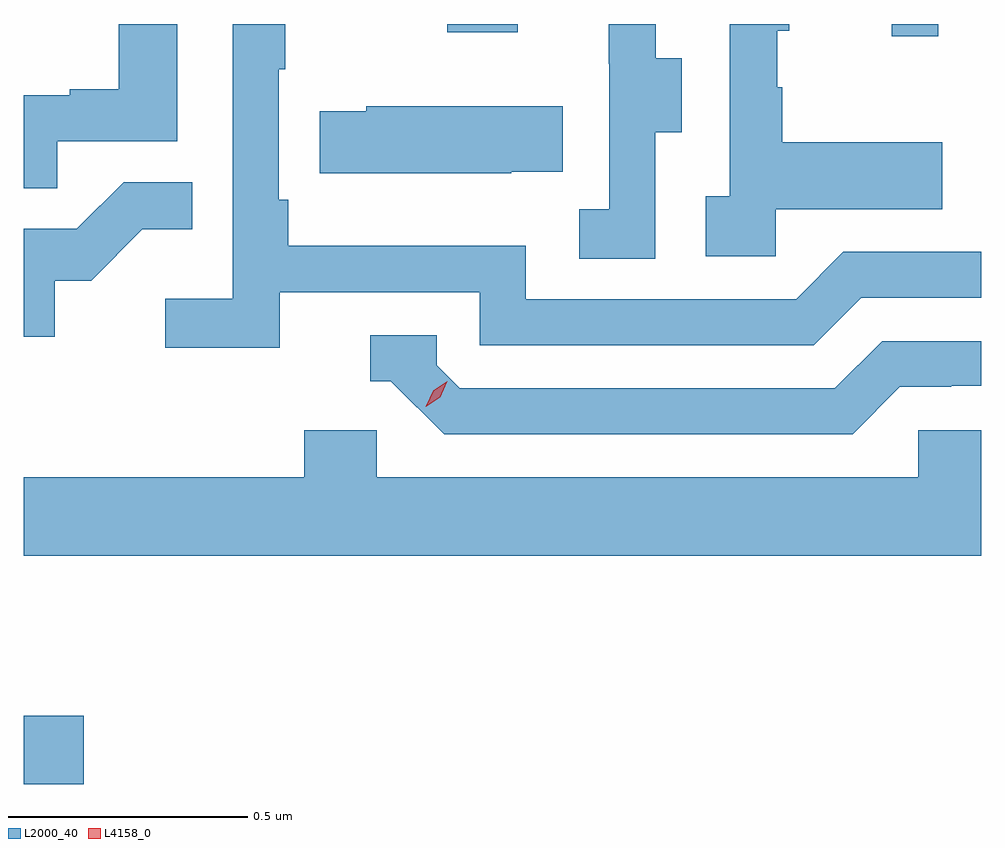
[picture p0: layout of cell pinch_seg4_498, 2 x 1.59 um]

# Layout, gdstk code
import gdstk
lib = gdstk.Library(unit=1e-6, precision=1e-09)
def R(c, l, rs):  # rectangles x0, y0, x1, y1
    for r in rs: c.add(gdstk.rectangle(r[:2], r[2:], *l))
def P(c, l, *ps):  # polygons
    for p in ps: c.add(gdstk.Polygon(p, *l))
L2000_40 = (2000, 40)
L4158_0 = (4158, 0)

pinch_seg4_498 = lib.new_cell('pinch_seg4_498')
R(pinch_seg4_498, L2000_40, [(901.759,767.039,901.885,767.181), (903.572,768.6,903.669,768.626), (902.644,768.609,902.791,768.626)])
P(pinch_seg4_498, L2000_40, [(902.294,768.066),(902.712,768.066),(902.712,767.955),(903.409,767.955),(903.508,768.054),(903.759,768.054),(903.759,768.15),(903.471,768.15),(903.372,768.051),(902.808,768.051),(902.808,768.163),(902.312,768.163),(902.312,768.259),(902.292,768.259),(902.292,768.532),(902.305,768.532),(902.305,768.626),(902.196,768.626),(902.196,768.052),(902.055,768.052),(902.055,767.95),(902.294,767.95)],
  [(901.829,768.381),(902.08,768.381),(902.08,768.626),(901.958,768.626),(901.958,768.49),(901.855,768.49),(901.855,768.477),(901.759,768.477),(901.759,768.283),(901.829,768.283)],
  [(903.33,768.239),(903.677,768.239),(903.677,768.379),(903.343,768.379),(903.343,768.494),(903.333,768.494),(903.333,768.612),(903.358,768.612),(903.358,768.626),(903.234,768.626),(903.234,768.266),(903.183,768.266),(903.183,768.141),(903.33,768.141)],
  [(903.078,768.4),(903.133,768.4),(903.133,768.555),(903.079,768.555),(903.079,768.626),(902.981,768.626),(902.981,768.543),(902.982,768.543),(902.982,768.239),(902.919,768.239),(902.919,768.136),(903.078,768.136)],
  [(902.777,768.317),(902.885,768.317),(902.885,768.454),(902.475,768.454),(902.475,768.444),(902.377,768.444),(902.377,768.314),(902.777,768.314)],
  [(901.824,768.09),(901.9,768.09),(902.007,768.197),(902.111,768.197),(902.111,768.296),(901.968,768.296),(901.87,768.198),(901.759,768.198),(901.759,767.973),(901.824,767.973)],
  [(903.589,767.868),(903.696,767.868),(903.696,767.871),(903.759,767.871),(903.759,767.964),(903.552,767.964),(903.453,767.865),(902.67,767.865),(902.622,767.913),(902.622,767.976),(902.483,767.976),(902.483,767.88),(902.526,767.88),(902.637,767.769),(903.49,767.769)],
  [(903.759,767.778),(903.627,767.778),(903.627,767.68),(902.496,767.68),(902.496,767.778),(902.345,767.778),(902.345,767.68),(901.759,767.68),(901.759,767.516),(903.759,767.516)])
P(pinch_seg4_498, L4158_0, [(902.599,767.827),(902.599,767.827),(902.614,767.86),(902.644,767.88),(902.644,767.88),(902.644,767.88),(902.629,767.847),(902.599,767.827)])

lib.write_gds('pinch_seg4_498.gds')
